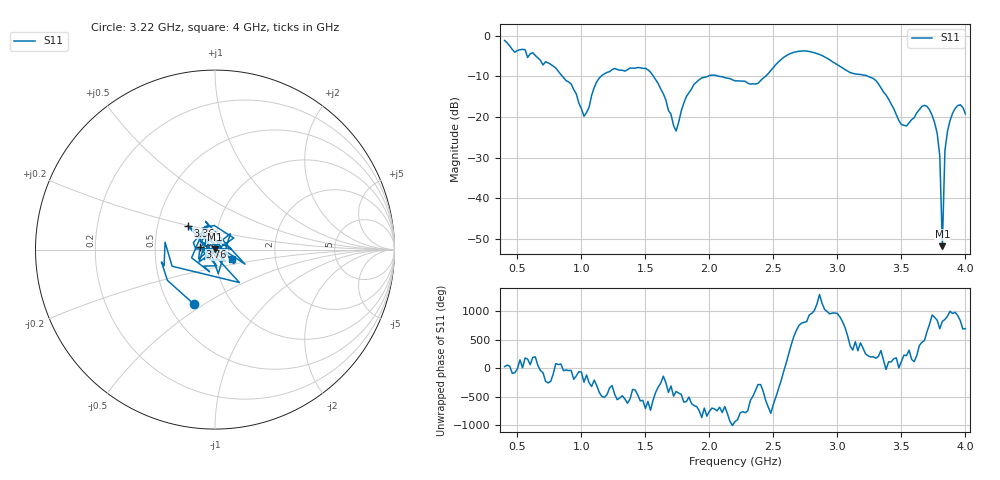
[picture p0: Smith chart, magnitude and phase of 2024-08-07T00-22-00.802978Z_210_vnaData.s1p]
!Created with skrf (http://scikit-rf.org).
# Hz S RI R 50.0
!freq ReS11 ImS11
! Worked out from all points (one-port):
!   181 points, 400 MHz to 4 GHz, reference 50 ohm
!   lowest |S11| = -51.8 dB at 3.82 GHz (marker M1), VSWR 1.01, Z = 50 + j0.254 ohm
!   |S11| at or under -10 dB: 1.563 GHz to 1.988 GHz (424.8 MHz wide, 23.9 % of centre); 2.075 GHz to 2.439 GHz (363.6 MHz wide, 16.1 % of centre); 3.239 GHz to end of sweep (the widest 3 of 4)
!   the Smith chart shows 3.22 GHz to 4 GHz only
!   S11 on the Smith chart (normalised r, x): 3.22 GHz: 0.67, -0.45; 3.36 GHz: 0.71, +0.20; 3.76 GHz: 0.85, +0.03; 4 GHz: 1.20, -0.13
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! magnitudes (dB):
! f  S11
! 400 MHz  -1.2
! 860 MHz  -10.3
! 920 MHz  -11.9
! 1.02 GHz  -19.8
! 1.14 GHz  -10.4
! 1.3 GHz  -8.5
! 1.52 GHz  -8.4
! 1.64 GHz  -14.3
! 1.74 GHz  -23.5
! 1.76 GHz  -21.3
! 1.82 GHz  -15.0
! 1.92 GHz  -10.8
! 2.2 GHz  -11.1
! 2.38 GHz  -11.7
! 2.66 GHz  -4.1
! 3.1 GHz  -9.1
! 3.22 GHz  -9.8
! 3.36 GHz  -13.8
! 3.5 GHz  -21.9
! 3.56 GHz  -21.5
! 3.68 GHz  -17.1
! 3.76 GHz  -21.5
! 3.8 GHz  -29.6
! 3.82 GHz  -51.8
! 3.84 GHz  -28.3
! 3.86 GHz  -23.5
! 3.94 GHz  -17.2
! 4 GHz  -19.2
